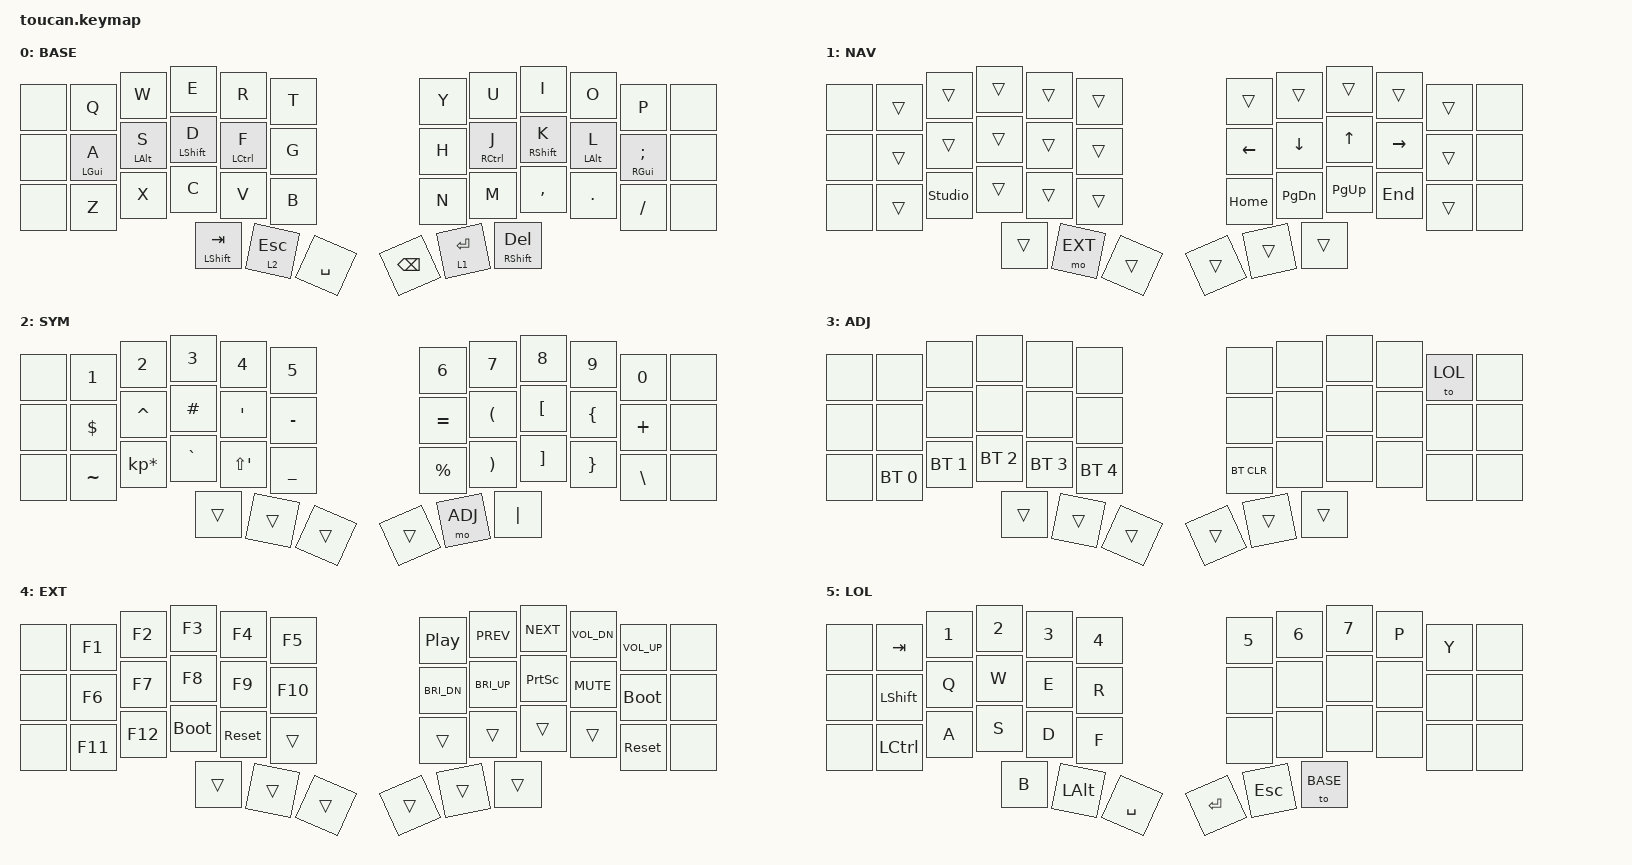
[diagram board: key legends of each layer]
#include <behaviors.dtsi>
#include <dt-bindings/zmk/bt.h>
#include <dt-bindings/zmk/keys.h>
#include <dt-bindings/zmk/pointing.h>

#define BASE 0
#define NAV  1
#define SYM  2
#define ADJ  3
#define EXT  4
#define LOL  5

/ {
    behaviors {
        // Home-row mods: a hold only triggers when the other key is on the
        // opposite hand (or a thumb). Same-hand rolls resolve as plain taps.
        hml: homerow_mods_left {
            compatible = "zmk,behavior-hold-tap";
            #binding-cells = <2>;
            tapping-term-ms = <180>;
            quick-tap-ms = <140>;
            require-prior-idle-ms = <120>;
            flavor = "balanced";
            hold-trigger-on-release;
            hold-trigger-key-positions = <6 7 8 9 10 11 18 19 20 21 22 23 30 31 32 33 34 35 36 37 38 39 40 41>;
            bindings = <&kp>, <&kp>;
        };

        hmr: homerow_mods_right {
            compatible = "zmk,behavior-hold-tap";
            #binding-cells = <2>;
            tapping-term-ms = <180>;
            quick-tap-ms = <140>;
            require-prior-idle-ms = <120>;
            flavor = "balanced";
            hold-trigger-on-release;
            hold-trigger-key-positions = <0 1 2 3 4 5 12 13 14 15 16 17 24 25 26 27 28 29 36 37 38 39 40 41>;
            bindings = <&kp>, <&kp>;
        };

        // Layer-tap that activates the layer as soon as another key is
        // pressed and released, instead of waiting for the full term.
        ltb: layer_tap_balanced {
            compatible = "zmk,behavior-hold-tap";
            #binding-cells = <2>;
            tapping-term-ms = <170>;
            quick-tap-ms = <140>;
            flavor = "balanced";
            bindings = <&mo>, <&kp>;
        };

        ts: thumb_shift {
            compatible = "zmk,behavior-hold-tap";
            #binding-cells = <2>;
            tapping-term-ms = <200>;
            flavor = "balanced";
            bindings = <&kp>, <&kp>;
        };

        lmc: layer_mouseclick {
            compatible = "zmk,behavior-hold-tap";
            #binding-cells = <2>;
            tapping-term-ms = <200>;
            flavor = "tap-preferred";
            bindings = <&mo>, <&mkp>;
        };
    };

    keymap {
        compatible = "zmk,keymap";

        base {
            display-name = "BASE";
            bindings = <
                &none &kp Q      &kp W      &kp E       &kp R       &kp T   &kp Y &kp U       &kp I       &kp O      &kp P         &none
                &none &hml LGUI A &hml LALT S &hml LSHFT D &hml LCTRL F &kp G   &kp H &hmr RCTRL J &hmr RSHFT K &hmr LALT L &hmr RGUI SEMI &none
                &none &kp Z      &kp X      &kp C       &kp V       &kp B   &kp N &kp M       &kp COMMA   &kp DOT    &kp FSLH      &none
                                &ts LSHFT TAB  &ltb 2 ESCAPE   &kp SPACE      &kp BSPC     &ltb 1 ENTER &ts RSHFT DEL
            >;
        };

        nav {
            display-name = "NAV";
            bindings = <
                &none &trans       &trans         &trans       &trans       &trans         &trans   &trans    &trans    &trans    &trans &none
                &none &trans       &trans         &trans       &trans       &trans         &kp LEFT &kp DOWN  &kp UP    &kp RIGHT &trans &none
                &none &trans       &studio_unlock &trans       &trans       &trans         &kp HOME &kp PG_DN &kp PG_UP &kp END   &trans &none
                                &trans &mo EXT &trans   &trans &trans &trans
            >;
        };

        sym {
            display-name = "SYM";
            bindings = <
                &none &kp N1    &kp N2          &kp N3    &kp N4      &kp N5      &kp N6    &kp N7   &kp N8   &kp N9   &kp N0   &none
                &none &kp DLLR  &kp CARET       &kp HASH  &kp SQT     &kp MINUS   &kp EQUAL &kp LPAR &kp LBKT &kp LBRC &kp PLUS &none
                &none &kp TILDE &kp KP_MULTIPLY &kp GRAVE &kp LS(SQT) &kp UNDER   &kp PRCNT &kp RPAR &kp RBKT &kp RBRC &kp BSLH &none
                                &trans &trans &trans   &trans &mo ADJ &kp PIPE
            >;
        };

        adj {
            display-name = "ADJ";
            bindings = <
                &none &none &none       &none       &none       &none       &none       &none &none &none &to LOL &none
                &none &none &none       &none       &none       &none       &none       &none &none &none &none &none
                &none &bt BT_SEL 0 &bt BT_SEL 1 &bt BT_SEL 2 &bt BT_SEL 3 &bt BT_SEL 4 &bt BT_CLR &none &none &none &none &none
                                &trans &trans &trans   &trans &trans &trans
            >;
        };

        ext {
            display-name = "EXT";
            bindings = <
                &none &kp F1  &kp F2  &kp F3      &kp F4     &kp F5    &kp C_PP     &kp C_PREV   &kp C_NEXT      &kp C_VOL_DN   &kp C_VOL_UP &none
                &none &kp F6  &kp F7  &kp F8      &kp F9     &kp F10   &kp C_BRI_DN &kp C_BRI_UP &kp PRINTSCREEN &kp C_MUTE     &bootloader  &none
                &none &kp F11 &kp F12 &bootloader &sys_reset &trans    &trans &trans &trans &trans &sys_reset &none
                                &trans &trans &trans   &trans &trans &trans
            >;
        };

        lol {
            display-name = "LOL";
            bindings = <
                &none &kp TAB    &kp N1 &kp N2 &kp N3 &kp N4   &kp N5 &kp N6 &kp N7 &kp P &kp Y &none
                &none &kp LSHIFT &kp Q  &kp W  &kp E  &kp R    &none  &none  &none  &none &none &none
                &none &kp LCTRL  &kp A  &kp S  &kp D  &kp F    &none  &none  &none  &none &none &none
                                &kp B &kp LALT &kp SPACE   &kp ENTER &kp ESCAPE &to BASE
            >;
        };
    };
};
